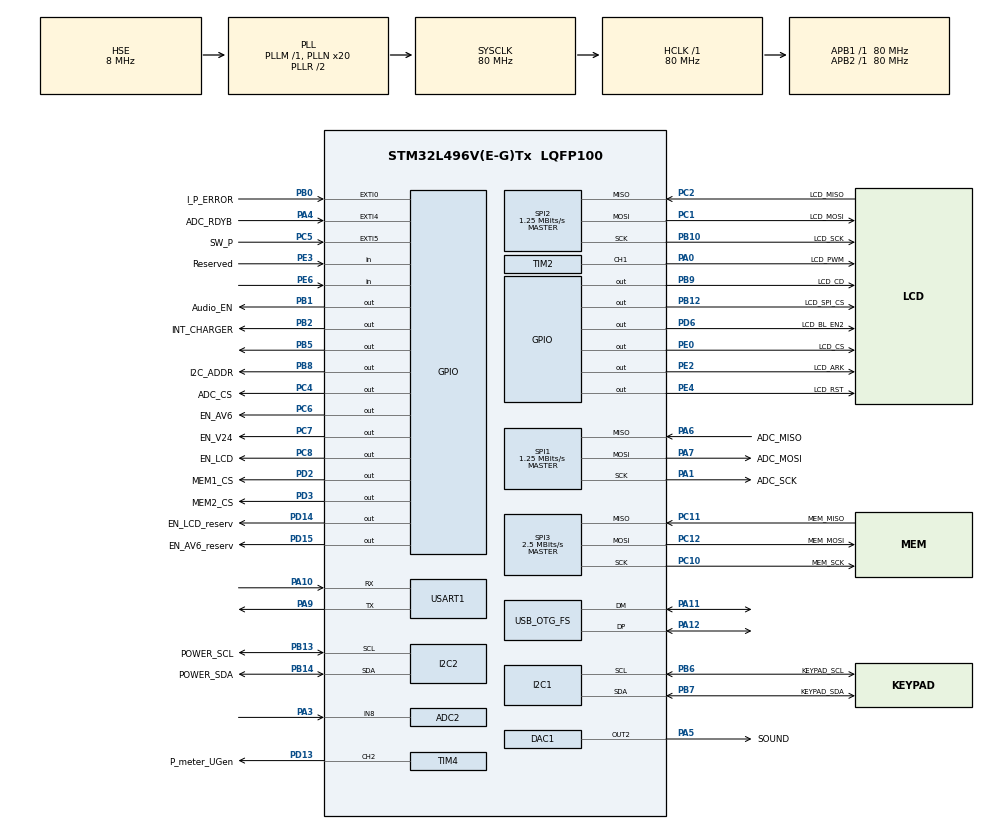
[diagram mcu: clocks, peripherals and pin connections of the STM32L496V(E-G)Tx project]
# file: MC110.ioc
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ADC1.Channel-0\#ChannelRegularConversion=ADC_CHANNEL_TEMPSENSOR
ADC1.ExternalTrigConv=ADC_SOFTWARE_START
ADC1.NbrOfConversionFlag=1
ADC1.OffsetNumber-0\#ChannelRegularConversion=ADC_OFFSET_NONE
ADC1.Rank-0\#ChannelRegularConversion=1
ADC1.SamplingTime-0\#ChannelRegularConversion=ADC_SAMPLETIME_47CYCLES_5
ADC1.master=1
ADC2.Channel-0\#ChannelRegularConversion=ADC_CHANNEL_8
ADC2.ClockPrescaler=ADC_CLOCK_ASYNC_DIV1
ADC2.ContinuousConvMode=ENABLE
ADC2.NbrOfConversionFlag=1
ADC2.OffsetNumber-0\#ChannelRegularConversion=ADC_OFFSET_NONE
ADC2.Rank-0\#ChannelRegularConversion=1
ADC2.SamplingTime-0\#ChannelRegularConversion=ADC_SAMPLETIME_47CYCLES_5
DAC1.DAC_Channel-DAC_OUT2=DAC_CHANNEL_2
DAC1.DAC_Trigger-DAC_OUT2=DAC_TRIGGER_T6_TRGO
DAC1.DAC_UserTrimming-DAC_OUT2=DAC_TRIMMING_FACTORY
DAC1.WaveGeneration-DAC_OUT2=DISABLE
Dma.ADC1.1.Direction=DMA_PERIPH_TO_MEMORY
Dma.ADC1.1.Instance=DMA1_Channel1
Dma.ADC1.1.MemDataAlignment=DMA_MDATAALIGN_HALFWORD
Dma.ADC1.1.MemInc=DMA_MINC_ENABLE
Dma.ADC1.1.Mode=DMA_CIRCULAR
Dma.ADC1.1.PeriphDataAlignment=DMA_PDATAALIGN_HALFWORD
Dma.ADC1.1.PeriphInc=DMA_PINC_DISABLE
Dma.ADC1.1.Priority=DMA_PRIORITY_MEDIUM
Dma.ADC2.0.Direction=DMA_PERIPH_TO_MEMORY
Dma.ADC2.0.Instance=DMA1_Channel2
Dma.ADC2.0.MemDataAlignment=DMA_MDATAALIGN_HALFWORD
Dma.ADC2.0.MemInc=DMA_MINC_ENABLE
Dma.ADC2.0.Mode=DMA_CIRCULAR
Dma.ADC2.0.PeriphDataAlignment=DMA_PDATAALIGN_HALFWORD
Dma.ADC2.0.PeriphInc=DMA_PINC_DISABLE
Dma.ADC2.0.Priority=DMA_PRIORITY_MEDIUM
Dma.DAC_CH2.2.Direction=DMA_MEMORY_TO_PERIPH
Dma.DAC_CH2.2.Instance=DMA1_Channel4
Dma.DAC_CH2.2.MemDataAlignment=DMA_MDATAALIGN_BYTE
Dma.DAC_CH2.2.MemInc=DMA_MINC_ENABLE
Dma.DAC_CH2.2.Mode=DMA_CIRCULAR
Dma.DAC_CH2.2.PeriphDataAlignment=DMA_PDATAALIGN_BYTE
Dma.DAC_CH2.2.PeriphInc=DMA_PINC_DISABLE
Dma.DAC_CH2.2.Priority=DMA_PRIORITY_MEDIUM
Dma.Request0=ADC2
Dma.Request1=ADC1
Dma.Request2=DAC_CH2
I2C1.Timing=0x10909CEC
I2C2.Timing=0x10909CEC
Mcu.Family=STM32L4
Mcu.Name=STM32L496V(E-G)Tx
Mcu.Package=LQFP100
NVIC.DMA1_Channel1_IRQn=true\:0\:0\:false\:false\:true\:false\:true
NVIC.DMA1_Channel2_IRQn=true\:0\:0\:false\:false\:true\:false\:true
NVIC.DMA1_Channel4_IRQn=true\:0\:0\:false\:false\:true\:false\:true
NVIC.EXTI4_IRQn=true\:0\:0\:false\:false\:true\:true\:true
NVIC.OTG_FS_IRQn=true\:0\:0\:false\:false\:true\:false\:true
NVIC.PriorityGroup=NVIC_PRIORITYGROUP_4
NVIC.TIM1_UP_TIM16_IRQn=true\:15\:0\:false\:false\:true\:false\:true
NVIC.TIM6_DAC_IRQn=true\:0\:0\:false\:false\:true\:true\:true
NVIC.TimeBase=TIM1_UP_TIM16_IRQn
NVIC.TimeBaseIP=TIM1
NVIC.USART1_IRQn=true\:0\:0\:false\:false\:true\:true\:true
PA0.GPIO_Label=LCD_PWM
PA0.Signal=S_TIM2_CH1
PA1.GPIO_Label=ADC_SCK
PA1.Mode=Full_Duplex_Master
PA1.Signal=SPI1_SCK
PA10.GPIO_PuPd=GPIO_NOPULL
PA10.Mode=Asynchronous
PA10.Signal=USART1_RX
PA11.Mode=Device_Only
PA11.Signal=USB_OTG_FS_DM
PA12.Mode=Device_Only
PA12.Signal=USB_OTG_FS_DP
PA13\ (JTMS/SWDIO).Mode=Serial_Wire
PA13\ (JTMS/SWDIO).Signal=SYS_JTMS-SWDIO
PA14\ (JTCK/SWCLK).Mode=Serial_Wire
PA14\ (JTCK/SWCLK).Signal=SYS_JTCK-SWCLK
PA3.Signal=ADCx_IN8
PA4.GPIO_Label=ADC_RDYB
PA4.GPIO_ModeDefaultEXTI=GPIO_MODE_IT_FALLING
PA4.Signal=GPXTI4
PA5.GPIO_Label=SOUND
PA5.Signal=COMP_DAC12_group
PA6.GPIO_Label=ADC_MISO
PA6.Mode=Full_Duplex_Master
PA6.Signal=SPI1_MISO
PA7.GPIO_Label=ADC_MOSI
PA7.Mode=Full_Duplex_Master
PA7.Signal=SPI1_MOSI
PA9.GPIO_PuPd=GPIO_NOPULL
PA9.Mode=Asynchronous
PA9.Signal=USART1_TX
PB0.GPIO_Label=I_P_ERROR
PB0.Signal=GPXTI0
PB1.GPIO_Label=Audio_EN
PB1.Signal=GPIO_Output
PB10.GPIO_Label=LCD_SCK
PB10.Mode=Full_Duplex_Master
PB10.Signal=SPI2_SCK
PB12.GPIO_Label=LCD_SPI_CS
PB12.Signal=GPIO_Output
PB13.GPIO_Label=POWER_SCL
PB13.GPIO_Pu=GPIO_PULLUP
PB13.Mode=I2C
PB13.Signal=I2C2_SCL
PB14.GPIO_Label=POWER_SDA
PB14.GPIO_Pu=GPIO_PULLUP
PB14.Mode=I2C
PB14.Signal=I2C2_SDA
PB2.GPIO_Label=INT_CHARGER
PB2.Signal=GPIO_Output
PB5.Signal=GPIO_Output
PB6.GPIO_Label=KEYPAD_SCL
PB6.GPIO_Pu=GPIO_PULLUP
PB6.Mode=I2C
PB6.Signal=I2C1_SCL
PB7.GPIO_Label=KEYPAD_SDA
PB7.GPIO_Pu=GPIO_PULLUP
PB7.Mode=I2C
PB7.Signal=I2C1_SDA
PB8.GPIO_Label=I2C_ADDR
PB8.Signal=GPIO_Output
PB9.GPIO_Label=LCD_CD
PB9.Signal=GPIO_Output
PC1.GPIO_Label=LCD_MOSI
PC1.Mode=Full_Duplex_Master
PC1.Signal=SPI2_MOSI
PC10.GPIO_Label=MEM_SCK
PC10.Mode=Full_Duplex_Master
PC10.Signal=SPI3_SCK
PC11.GPIO_Label=MEM_MISO
PC11.Mode=Full_Duplex_Master
PC11.Signal=SPI3_MISO
PC12.GPIO_Label=MEM_MOSI
PC12.Mode=Full_Duplex_Master
PC12.Signal=SPI3_MOSI
PC14-OSC32_IN\ (PC14).Mode=LSE-External-Oscillator
PC14-OSC32_IN\ (PC14).Signal=RCC_OSC32_IN
PC15-OSC32_OUT\ (PC15).Mode=LSE-External-Oscillator
PC15-OSC32_OUT\ (PC15).Signal=RCC_OSC32_OUT
PC2.GPIO_Label=LCD_MISO
PC2.Mode=Full_Duplex_Master
PC2.Signal=SPI2_MISO
PC4.GPIO_Label=ADC_CS
PC4.Signal=GPIO_Output
PC5.GPIO_Label=SW_P
PC5.Signal=GPXTI5
PC6.GPIO_Label=EN_AV6
PC6.Signal=GPIO_Output
PC7.GPIO_Label=EN_V24
PC7.Signal=GPIO_Output
PC8.GPIO_Label=EN_LCD
PC8.Signal=GPIO_Output
PD13.GPIO_Label=P_meter_UGen
PD13.Signal=S_TIM4_CH2
PD14.GPIO_Label=EN_LCD_reserv
PD14.Signal=GPIO_Output
PD15.GPIO_Label=EN_AV6_reserv
PD15.Signal=GPIO_Output
PD2.GPIO_Label=MEM1_CS
PD2.Signal=GPIO_Output
PD3.GPIO_Label=MEM2_CS
PD3.Signal=GPIO_Output
PD6.GPIO_Label=LCD_BL_EN2
PD6.Signal=GPIO_Output
PE0.GPIO_Label=LCD_CS
PE0.Signal=GPIO_Output
PE2.GPIO_Label=LCD_ARK
PE2.Signal=GPIO_Output
PE3.GPIO_Label=Reserved
PE3.Signal=GPIO_Input
PE4.GPIO_Label=LCD_RST
PE4.Signal=GPIO_Output
PE6.GPIO_PuPd=GPIO_PULLDOWN
PE6.Signal=GPIO_Input
PH0-OSC_IN\ (PH0).Mode=HSE-External-Oscillator
PH0-OSC_IN\ (PH0).Signal=RCC_OSC_IN
PH1-OSC_OUT\ (PH1).Mode=HSE-External-Oscillator
PH1-OSC_OUT\ (PH1).Signal=RCC_OSC_OUT
ProjectManager.HeapSize=0x200
ProjectManager.StackSize=0x400
ProjectManager.TargetToolchain=STM32CubeIDE
RCC.ADCCLockSelection=RCC_ADCCLKSOURCE_SYSCLK
RCC.ADCFreq_Value=80000000
RCC.AHBFreq_Value=80000000
RCC.APB1Freq_Value=80000000
RCC.APB1TimFreq_Value=80000000
RCC.APB2Freq_Value=80000000
RCC.APB2TimFreq_Value=80000000
RCC.CortexFreq_Value=80000000
RCC.EnableCSSLSE=true
RCC.HCLKFreq_Value=80000000
RCC.HSE_VALUE=8000000
RCC.HSI48_VALUE=48000000
RCC.HSI_VALUE=16000000
RCC.MSI_VALUE=4000000
RCC.PLLN=20
RCC.PLLSAI1N=12
RCC.PLLSourceVirtual=RCC_PLLSOURCE_HSE
RCC.RTCClockSelection=RCC_RTCCLKSOURCE_LSE
RCC.SYSCLKFreq_VALUE=80000000
RCC.SYSCLKSource=RCC_SYSCLKSOURCE_PLLCLK
RCC.USBFreq_Value=48000000
RCC.VCOOutputFreq_Value=160000000
RCC.VDD_VALUE=3
SH.ADCx_IN8.0=ADC2_IN8,IN8-Single-Ended
SH.COMP_DAC12_group.0=DAC1_OUT2,DAC_OUT2
SH.S_TIM2_CH1.0=TIM2_CH1,PWM Generation1 CH1
SH.S_TIM4_CH2.0=TIM4_CH2,PWM Generation2 CH2
SPI1.BaudRatePrescaler=SPI_BAUDRATEPRESCALER_64
SPI1.CalculateBaudRate=1.25 MBits/s
SPI1.DataSize=SPI_DATASIZE_8BIT
SPI1.Direction=SPI_DIRECTION_2LINES
SPI1.Mode=SPI_MODE_MASTER
SPI1.VirtualType=VM_MASTER
SPI2.BaudRatePrescaler=SPI_BAUDRATEPRESCALER_64
SPI2.CalculateBaudRate=1.25 MBits/s
SPI2.DataSize=SPI_DATASIZE_8BIT
SPI2.Direction=SPI_DIRECTION_2LINES
SPI2.Mode=SPI_MODE_MASTER
SPI2.VirtualType=VM_MASTER
SPI3.BaudRatePrescaler=SPI_BAUDRATEPRESCALER_32
SPI3.CalculateBaudRate=2.5 MBits/s
SPI3.DataSize=SPI_DATASIZE_8BIT
SPI3.Direction=SPI_DIRECTION_2LINES
SPI3.Mode=SPI_MODE_MASTER
SPI3.VirtualType=VM_MASTER
SYS.PVDLevel=PWR_PVDLEVEL_4
TIM2.Channel-PWM\ Generation1\ CH1=TIM_CHANNEL_1
TIM2.Period=50
TIM2.Prescaler=2
TIM2.Pulse-PWM\ Generation1\ CH1=50
TIM4.Channel-PWM\ Generation2\ CH2=TIM_CHANNEL_2
TIM4.Period=1000
TIM6.Period=1666
TIM6.Prescaler=2
TIM6.TIM_MasterOutputTrigger=TIM_TRGO_UPDATE
USART1.VirtualMode-Asynchronous=VM_ASYNC
USB_DEVICE.CLASS_NAME_FS=CDC
USB_DEVICE.VirtualMode=Cdc
USB_DEVICE.VirtualModeFS=Cdc_FS
USB_OTG_FS.VirtualMode=Device_Only
VP_ADC1_TempSens_Input.Mode=IN-TempSens
VP_FATFS_VS_Generic.Mode=User_defined
VP_RTC_VS_RTC_Activate.Mode=RTC_Enabled
VP_SYS_VS_tim1.Mode=TIM1
VP_SYS_V_PVD_IN.Mode=Mode_PVD_Int
VP_TIM6_VS_ClockSourceINT.Mode=Enable_Timer
VP_USB_DEVICE_VS_USB_DEVICE_CDC_FS.Mode=CDC_FS
board=custom

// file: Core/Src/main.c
/* USER CODE BEGIN Header */
/**
  ******************************************************************************
  * @file           : main.c
  * @brief          : Main program body
  ******************************************************************************
  * @attention
  *
  * <h2><center>&copy; Copyright (c) 2021 STMicroelectronics.
  * All rights reserved.</center></h2>
  *
  * This software component is licensed by ST under BSD 3-Clause license,
  * the "License"; You may not use this file except in compliance with the
  * License. You may obtain a copy of the License at:
  *                        opensource.org/licenses/BSD-3-Clause
  *
  ******************************************************************************
  */
/* USER CODE END Header */
#include "main.h"
#include "fatfs.h"
#include "usb_device.h"

/* USER CODE BEGIN Includes */
#include "Usart_Parser.h"
/* USER CODE END Includes */

ADC_HandleTypeDef hadc1;
ADC_HandleTypeDef hadc2;
DMA_HandleTypeDef hdma_adc1;
DMA_HandleTypeDef hdma_adc2;

DAC_HandleTypeDef hdac1;
DMA_HandleTypeDef hdma_dac_ch2;

I2C_HandleTypeDef hi2c1;
I2C_HandleTypeDef hi2c2;

RTC_HandleTypeDef hrtc;

SPI_HandleTypeDef hspi1;
SPI_HandleTypeDef hspi2;
SPI_HandleTypeDef hspi3;

TIM_HandleTypeDef htim2;
TIM_HandleTypeDef htim4;
TIM_HandleTypeDef htim6;

UART_HandleTypeDef huart1;

void SystemClock_Config(void);
static void MX_GPIO_Init(void);
static void MX_I2C1_Init(void);
static void MX_I2C2_Init(void);
static void MX_RTC_Init(void);
static void MX_SPI1_Init(void);
static void MX_SPI2_Init(void);
static void MX_SPI3_Init(void);
static void MX_TIM2_Init(void);
static void MX_TIM4_Init(void);
static void MX_USART1_UART_Init(void);
static void MX_DMA_Init(void);
static void MX_ADC2_Init(void);
static void MX_ADC1_Init(void);
static void MX_TIM6_Init(void);
static void MX_DAC1_Init(void);

/* USER CODE BEGIN 0 */
void led_on(void)
{
	if(ERROR_REG!=0)LED(1,0,0);
	Task_STOP(9);
	Task_RUN(10, 250);
}
void led_off(void)
{
	LED(0,0,0);
	Task_STOP(10);
	Task_RUN(9, 250);
}
void test_task(void)
{
	uint8_t CID = MAX77960_Read_Reg(MAX77960_CID);
	sleep(300);
}

/* USER CODE END 0 */

int main(void)
{

  /* MCU Configuration--------------------------------------------------------*/

  /* Reset of all peripherals, Initializes the Flash interface and the Systick. */
  HAL_Init();

  /* Configure the system clock */
  SystemClock_Config();

  /* Initialize all configured peripherals */
  MX_GPIO_Init();
  MX_I2C1_Init();
  MX_I2C2_Init();
  MX_RTC_Init();
  MX_SPI1_Init();
  MX_SPI2_Init();
  MX_SPI3_Init();
  MX_TIM2_Init();
  MX_TIM4_Init();
  MX_USART1_UART_Init();
  MX_FATFS_Init();
  MX_DMA_Init();
  MX_USB_DEVICE_Init();
  MX_ADC2_Init();
  MX_ADC1_Init();
  MX_TIM6_Init();
  MX_DAC1_Init();
  /* USER CODE BEGIN 2 */

  // Таски
  new_task[1]=Parser_process;		// Парсинг команд через виртуальный компорт
  new_task[2]=ADC_process;			// АЦП
  new_task[3]=Display_process;		// Дисплей
  new_task[4]=Buttons_process;		// Кнопки
  new_task[5]=RTC_process;			// Часы реального времени
  new_task[6]=Auto_OFF_process;		// Автовыключение
  new_task[7]=Temperature_process;	// Температура МКУ
  new_task[8]=Battery_process;		// Напряжение на батарее
new_task[11]=test_task;

  Task_STOP(10);
  new_task[9]=led_on;
  new_task[10]=led_off;

  HAL_GPIO_WritePin(GPIOC, GPIO_PIN_8, GPIO_PIN_SET); // Питание на самоблокировку
  HAL_GPIO_WritePin(GPIOD, GPIO_PIN_14, GPIO_PIN_SET); // Питание на самоблокировку
  TURN_ON_ADC_POWER();

  Buttons_init();
  Display_init();
  ADC_init();
  W25_Init();
  BLueTooth_Configuration(BLE_config);
  Logging_init();
  Load_Settings();

  Play_Sound((char*)"INTRO.WAV");
  ELSPIRE_OS_KERNEL();
  /* USER CODE END 2 */

  /* Infinite loop */
  while (1)
  {

  }
}

void SystemClock_Config(void)
{
  RCC_OscInitTypeDef RCC_OscInitStruct = {0};
  RCC_ClkInitTypeDef RCC_ClkInitStruct = {0};

  /** Configure the main internal regulator output voltage
  */
  if (HAL_PWREx_ControlVoltageScaling(PWR_REGULATOR_VOLTAGE_SCALE1) != HAL_OK)
  {
    Error_Handler();
  }
  /** Configure LSE Drive Capability
  */
  HAL_PWR_EnableBkUpAccess();
  __HAL_RCC_LSEDRIVE_CONFIG(RCC_LSEDRIVE_LOW);
  /** Initializes the RCC Oscillators according to the specified parameters
  * in the RCC_OscInitTypeDef structure.
  */
  RCC_OscInitStruct.OscillatorType = RCC_OSCILLATORTYPE_HSE|RCC_OSCILLATORTYPE_LSE;
  RCC_OscInitStruct.HSEState = RCC_HSE_ON;
  RCC_OscInitStruct.LSEState = RCC_LSE_ON;
  RCC_OscInitStruct.PLL.PLLState = RCC_PLL_ON;
  RCC_OscInitStruct.PLL.PLLSource = RCC_PLLSOURCE_HSE;
  RCC_OscInitStruct.PLL.PLLM = 1;
  RCC_OscInitStruct.PLL.PLLN = 20;
  RCC_OscInitStruct.PLL.PLLP = RCC_PLLP_DIV2;
  RCC_OscInitStruct.PLL.PLLQ = RCC_PLLQ_DIV2;
  RCC_OscInitStruct.PLL.PLLR = RCC_PLLR_DIV2;
  if (HAL_RCC_OscConfig(&RCC_OscInitStruct) != HAL_OK)
  {
    Error_Handler();
  }
  /** Initializes the CPU, AHB and APB buses clocks
  */
  RCC_ClkInitStruct.ClockType = RCC_CLOCKTYPE_HCLK|RCC_CLOCKTYPE_SYSCLK
                              |RCC_CLOCKTYPE_PCLK1|RCC_CLOCKTYPE_PCLK2;
  RCC_ClkInitStruct.SYSCLKSource = RCC_SYSCLKSOURCE_PLLCLK;
  RCC_ClkInitStruct.AHBCLKDivider = RCC_SYSCLK_DIV1;
  RCC_ClkInitStruct.APB1CLKDivider = RCC_HCLK_DIV1;
  RCC_ClkInitStruct.APB2CLKDivider = RCC_HCLK_DIV1;

  if (HAL_RCC_ClockConfig(&RCC_ClkInitStruct, FLASH_LATENCY_4) != HAL_OK)
  {
    Error_Handler();
  }
  /** Enables the Clock Security System
  */
  HAL_RCCEx_EnableLSECSS();
}

static void MX_ADC1_Init(void)
{

  ADC_MultiModeTypeDef multimode = {0};
  ADC_ChannelConfTypeDef sConfig = {0};

  /** Common config
  */
  hadc1.Instance = ADC1;
  hadc1.Init.ClockPrescaler = ADC_CLOCK_ASYNC_DIV1;
  hadc1.Init.Resolution = ADC_RESOLUTION_12B;
  hadc1.Init.DataAlign = ADC_DATAALIGN_RIGHT;
  hadc1.Init.ScanConvMode = ADC_SCAN_DISABLE;
  hadc1.Init.EOCSelection = ADC_EOC_SINGLE_CONV;
  hadc1.Init.LowPowerAutoWait = DISABLE;
  hadc1.Init.ContinuousConvMode = DISABLE;
  hadc1.Init.NbrOfConversion = 1;
  hadc1.Init.DiscontinuousConvMode = DISABLE;
  hadc1.Init.ExternalTrigConv = ADC_SOFTWARE_START;
  hadc1.Init.ExternalTrigConvEdge = ADC_EXTERNALTRIGCONVEDGE_NONE;
  hadc1.Init.DMAContinuousRequests = DISABLE;
  hadc1.Init.Overrun = ADC_OVR_DATA_PRESERVED;
  hadc1.Init.OversamplingMode = DISABLE;
  if (HAL_ADC_Init(&hadc1) != HAL_OK)
  {
    Error_Handler();
  }
  /** Configure the ADC multi-mode
  */
  multimode.Mode = ADC_MODE_INDEPENDENT;
  if (HAL_ADCEx_MultiModeConfigChannel(&hadc1, &multimode) != HAL_OK)
  {
    Error_Handler();
  }
  /** Configure Regular Channel
  */
  sConfig.Channel = ADC_CHANNEL_TEMPSENSOR;
  sConfig.Rank = ADC_REGULAR_RANK_1;
  sConfig.SamplingTime = ADC_SAMPLETIME_47CYCLES_5;
  sConfig.SingleDiff = ADC_SINGLE_ENDED;
  sConfig.OffsetNumber = ADC_OFFSET_NONE;
  sConfig.Offset = 0;
  if (HAL_ADC_ConfigChannel(&hadc1, &sConfig) != HAL_OK)
  {
    Error_Handler();
  }
  /* USER CODE BEGIN ADC1_Init 2 */
  HAL_ADC_Start(&hadc1);
  /* USER CODE END ADC1_Init 2 */

}

static void MX_ADC2_Init(void)
{

  ADC_ChannelConfTypeDef sConfig = {0};

  /** Common config
  */
  hadc2.Instance = ADC2;
  hadc2.Init.ClockPrescaler = ADC_CLOCK_ASYNC_DIV1;
  hadc2.Init.Resolution = ADC_RESOLUTION_12B;
  hadc2.Init.DataAlign = ADC_DATAALIGN_RIGHT;
  hadc2.Init.ScanConvMode = ADC_SCAN_DISABLE;
  hadc2.Init.EOCSelection = ADC_EOC_SINGLE_CONV;
  hadc2.Init.LowPowerAutoWait = DISABLE;
  hadc2.Init.ContinuousConvMode = ENABLE;
  hadc2.Init.NbrOfConversion = 1;
  hadc2.Init.DiscontinuousConvMode = DISABLE;
  hadc2.Init.ExternalTrigConv = ADC_SOFTWARE_START;
  hadc2.Init.ExternalTrigConvEdge = ADC_EXTERNALTRIGCONVEDGE_NONE;
  hadc2.Init.DMAContinuousRequests = DISABLE;
  hadc2.Init.Overrun = ADC_OVR_DATA_PRESERVED;
  hadc2.Init.OversamplingMode = DISABLE;
  if (HAL_ADC_Init(&hadc2) != HAL_OK)
  {
    Error_Handler();
  }
  /** Configure Regular Channel
  */
  sConfig.Channel = ADC_CHANNEL_8;
  sConfig.Rank = ADC_REGULAR_RANK_1;
  sConfig.SamplingTime = ADC_SAMPLETIME_47CYCLES_5;
  sConfig.SingleDiff = ADC_SINGLE_ENDED;
  sConfig.OffsetNumber = ADC_OFFSET_NONE;
  sConfig.Offset = 0;
  if (HAL_ADC_ConfigChannel(&hadc2, &sConfig) != HAL_OK)
  {
    Error_Handler();
  }

}

static void MX_DAC1_Init(void)
{

  DAC_ChannelConfTypeDef sConfig = {0};

  /** DAC Initialization
  */
  hdac1.Instance = DAC1;
  if (HAL_DAC_Init(&hdac1) != HAL_OK)
  {
    Error_Handler();
  }
  /** DAC channel OUT2 config
  */
  sConfig.DAC_SampleAndHold = DAC_SAMPLEANDHOLD_DISABLE;
  sConfig.DAC_Trigger = DAC_TRIGGER_T6_TRGO;
  sConfig.DAC_OutputBuffer = DAC_OUTPUTBUFFER_ENABLE;
  sConfig.DAC_ConnectOnChipPeripheral = DAC_CHIPCONNECT_DISABLE;
  sConfig.DAC_UserTrimming = DAC_TRIMMING_FACTORY;
  if (HAL_DAC_ConfigChannel(&hdac1, &sConfig, DAC_CHANNEL_2) != HAL_OK)
  {
    Error_Handler();
  }
  /* USER CODE BEGIN DAC1_Init 2 */
//  HAL_DAC_Start(&hdac1, DAC_CHANNEL_2);
//  HAL_DAC_Start_DMA (&hdac1, DAC_CHANNEL_2, (uint32_t*)sound_buf, 512, DAC_ALIGN_12B_R);
  /* USER CODE END DAC1_Init 2 */

}

static void MX_I2C1_Init(void)
{

  hi2c1.Instance = I2C1;
  hi2c1.Init.Timing = 0x10909CEC;
  hi2c1.Init.OwnAddress1 = 0;
  hi2c1.Init.AddressingMode = I2C_ADDRESSINGMODE_7BIT;
  hi2c1.Init.DualAddressMode = I2C_DUALADDRESS_DISABLE;
  hi2c1.Init.OwnAddress2 = 0;
  hi2c1.Init.OwnAddress2Masks = I2C_OA2_NOMASK;
  hi2c1.Init.GeneralCallMode = I2C_GENERALCALL_DISABLE;
  hi2c1.Init.NoStretchMode = I2C_NOSTRETCH_DISABLE;
  if (HAL_I2C_Init(&hi2c1) != HAL_OK)
  {
    Error_Handler();
  }
  /** Configure Analogue filter
  */
  if (HAL_I2CEx_ConfigAnalogFilter(&hi2c1, I2C_ANALOGFILTER_ENABLE) != HAL_OK)
  {
    Error_Handler();
  }
  /** Configure Digital filter
  */
  if (HAL_I2CEx_ConfigDigitalFilter(&hi2c1, 0) != HAL_OK)
  {
    Error_Handler();
  }

}

static void MX_I2C2_Init(void)
{

  hi2c2.Instance = I2C2;
  hi2c2.Init.Timing = 0x10909CEC;
  hi2c2.Init.OwnAddress1 = 0;
  hi2c2.Init.AddressingMode = I2C_ADDRESSINGMODE_7BIT;
  hi2c2.Init.DualAddressMode = I2C_DUALADDRESS_DISABLE;
  hi2c2.Init.OwnAddress2 = 0;
  hi2c2.Init.OwnAddress2Masks = I2C_OA2_NOMASK;
  hi2c2.Init.GeneralCallMode = I2C_GENERALCALL_DISABLE;
  hi2c2.Init.NoStretchMode = I2C_NOSTRETCH_DISABLE;
  if (HAL_I2C_Init(&hi2c2) != HAL_OK)
  {
    Error_Handler();
  }
  /** Configure Analogue filter
  */
  if (HAL_I2CEx_ConfigAnalogFilter(&hi2c2, I2C_ANALOGFILTER_ENABLE) != HAL_OK)
  {
    Error_Handler();
  }
  /** Configure Digital filter
  */
  if (HAL_I2CEx_ConfigDigitalFilter(&hi2c2, 0) != HAL_OK)
  {
    Error_Handler();
  }

}

static void MX_RTC_Init(void)
{

  /** Initialize RTC Only
  */
  hrtc.Instance = RTC;
  hrtc.Init.HourFormat = RTC_HOURFORMAT_24;
  hrtc.Init.AsynchPrediv = 127;
  hrtc.Init.SynchPrediv = 255;
  hrtc.Init.OutPut = RTC_OUTPUT_DISABLE;
  hrtc.Init.OutPutRemap = RTC_OUTPUT_REMAP_NONE;
  hrtc.Init.OutPutPolarity = RTC_OUTPUT_POLARITY_HIGH;
  hrtc.Init.OutPutType = RTC_OUTPUT_TYPE_OPENDRAIN;
  if (HAL_RTC_Init(&hrtc) != HAL_OK)
  {
    Error_Handler();
  }
  /* USER CODE BEGIN RTC_Init 2 */

  HAL_RTCEx_EnableBypassShadow(&hrtc);
  /* USER CODE END RTC_Init 2 */

}

static void MX_SPI1_Init(void)
{

  /* SPI1 parameter configuration*/
  hspi1.Instance = SPI1;
  hspi1.Init.Mode = SPI_MODE_MASTER;
  hspi1.Init.Direction = SPI_DIRECTION_2LINES;
  hspi1.Init.DataSize = SPI_DATASIZE_8BIT;
  hspi1.Init.CLKPolarity = SPI_POLARITY_LOW;
  hspi1.Init.CLKPhase = SPI_PHASE_1EDGE;
  hspi1.Init.NSS = SPI_NSS_SOFT;
  hspi1.Init.BaudRatePrescaler = SPI_BAUDRATEPRESCALER_64;
  hspi1.Init.FirstBit = SPI_FIRSTBIT_MSB;
  hspi1.Init.TIMode = SPI_TIMODE_DISABLE;
  hspi1.Init.CRCCalculation = SPI_CRCCALCULATION_DISABLE;
  hspi1.Init.CRCPolynomial = 7;
  hspi1.Init.CRCLength = SPI_CRC_LENGTH_DATASIZE;
  hspi1.Init.NSSPMode = SPI_NSS_PULSE_ENABLE;
  if (HAL_SPI_Init(&hspi1) != HAL_OK)
  {
    Error_Handler();
  }

}

static void MX_SPI2_Init(void)
{

  /* SPI2 parameter configuration*/
  hspi2.Instance = SPI2;
  hspi2.Init.Mode = SPI_MODE_MASTER;
  hspi2.Init.Direction = SPI_DIRECTION_2LINES;
  hspi2.Init.DataSize = SPI_DATASIZE_8BIT;
  hspi2.Init.CLKPolarity = SPI_POLARITY_LOW;
  hspi2.Init.CLKPhase = SPI_PHASE_1EDGE;
  hspi2.Init.NSS = SPI_NSS_SOFT;
  hspi2.Init.BaudRatePrescaler = SPI_BAUDRATEPRESCALER_64;
  hspi2.Init.FirstBit = SPI_FIRSTBIT_MSB;
  hspi2.Init.TIMode = SPI_TIMODE_DISABLE;
  hspi2.Init.CRCCalculation = SPI_CRCCALCULATION_DISABLE;
  hspi2.Init.CRCPolynomial = 7;
  hspi2.Init.CRCLength = SPI_CRC_LENGTH_DATASIZE;
  hspi2.Init.NSSPMode = SPI_NSS_PULSE_ENABLE;
  if (HAL_SPI_Init(&hspi2) != HAL_OK)
  {
    Error_Handler();
  }

}

static void MX_SPI3_Init(void)
{

  /* SPI3 parameter configuration*/
  hspi3.Instance = SPI3;
  hspi3.Init.Mode = SPI_MODE_MASTER;
  hspi3.Init.Direction = SPI_DIRECTION_2LINES;
  hspi3.Init.DataSize = SPI_DATASIZE_8BIT;
  hspi3.Init.CLKPolarity = SPI_POLARITY_LOW;
  hspi3.Init.CLKPhase = SPI_PHASE_1EDGE;
  hspi3.Init.NSS = SPI_NSS_SOFT;
  hspi3.Init.BaudRatePrescaler = SPI_BAUDRATEPRESCALER_32;
  hspi3.Init.FirstBit = SPI_FIRSTBIT_MSB;
  hspi3.Init.TIMode = SPI_TIMODE_DISABLE;
  hspi3.Init.CRCCalculation = SPI_CRCCALCULATION_DISABLE;
  hspi3.Init.CRCPolynomial = 7;
  hspi3.Init.CRCLength = SPI_CRC_LENGTH_DATASIZE;
  hspi3.Init.NSSPMode = SPI_NSS_PULSE_ENABLE;
  if (HAL_SPI_Init(&hspi3) != HAL_OK)
  {
    Error_Handler();
  }

}

static void MX_TIM2_Init(void)
{

  TIM_MasterConfigTypeDef sMasterConfig = {0};
  TIM_OC_InitTypeDef sConfigOC = {0};

  htim2.Instance = TIM2;
  htim2.Init.Prescaler = 2;
  htim2.Init.CounterMode = TIM_COUNTERMODE_UP;
  htim2.Init.Period = 50;
  htim2.Init.ClockDivision = TIM_CLOCKDIVISION_DIV1;
  htim2.Init.AutoReloadPreload = TIM_AUTORELOAD_PRELOAD_DISABLE;
  if (HAL_TIM_PWM_Init(&htim2) != HAL_OK)
  {
    Error_Handler();
  }
  sMasterConfig.MasterOutputTrigger = TIM_TRGO_RESET;
  sMasterConfig.MasterSlaveMode = TIM_MASTERSLAVEMODE_DISABLE;
  if (HAL_TIMEx_MasterConfigSynchronization(&htim2, &sMasterConfig) != HAL_OK)
  {
    Error_Handler();
  }
  sConfigOC.OCMode = TIM_OCMODE_PWM1;
  sConfigOC.Pulse = 50;
  sConfigOC.OCPolarity = TIM_OCPOLARITY_HIGH;
  sConfigOC.OCFastMode = TIM_OCFAST_DISABLE;
  if (HAL_TIM_PWM_ConfigChannel(&htim2, &sConfigOC, TIM_CHANNEL_1) != HAL_OK)
  {
    Error_Handler();
  }
  /* USER CODE BEGIN TIM2_Init 2 */
  HAL_TIM_PWM_Start(&htim2, TIM_CHANNEL_1);

  /* USER CODE END TIM2_Init 2 */
  HAL_TIM_MspPostInit(&htim2);

}

static void MX_TIM4_Init(void)
{

  TIM_MasterConfigTypeDef sMasterConfig = {0};
  TIM_OC_InitTypeDef sConfigOC = {0};

  htim4.Instance = TIM4;
  htim4.Init.Prescaler = 0;
  htim4.Init.CounterMode = TIM_COUNTERMODE_UP;
  htim4.Init.Period = 1000;
  htim4.Init.ClockDivision = TIM_CLOCKDIVISION_DIV1;
  htim4.Init.AutoReloadPreload = TIM_AUTORELOAD_PRELOAD_DISABLE;
  if (HAL_TIM_PWM_Init(&htim4) != HAL_OK)
  {
    Error_Handler();
  }
  sMasterConfig.MasterOutputTrigger = TIM_TRGO_RESET;
  sMasterConfig.MasterSlaveMode = TIM_MASTERSLAVEMODE_DISABLE;
  if (HAL_TIMEx_MasterConfigSynchronization(&htim4, &sMasterConfig) != HAL_OK)
  {
    Error_Handler();
  }
  sConfigOC.OCMode = TIM_OCMODE_PWM1;
  sConfigOC.Pulse = 0;
  sConfigOC.OCPolarity = TIM_OCPOLARITY_HIGH;
  sConfigOC.OCFastMode = TIM_OCFAST_DISABLE;
  if (HAL_TIM_PWM_ConfigChannel(&htim4, &sConfigOC, TIM_CHANNEL_2) != HAL_OK)
  {
    Error_Handler();
  }
  HAL_TIM_MspPostInit(&htim4);

}

static void MX_TIM6_Init(void)
{

  TIM_MasterConfigTypeDef sMasterConfig = {0};

  htim6.Instance = TIM6;
  htim6.Init.Prescaler = 2;
  htim6.Init.CounterMode = TIM_COUNTERMODE_UP;
  htim6.Init.Period = 1666;
  htim6.Init.AutoReloadPreload = TIM_AUTORELOAD_PRELOAD_DISABLE;
  if (HAL_TIM_Base_Init(&htim6) != HAL_OK)
  {
    Error_Handler();
  }
  sMasterConfig.MasterOutputTrigger = TIM_TRGO_UPDATE;
  sMasterConfig.MasterSlaveMode = TIM_MASTERSLAVEMODE_DISABLE;
  if (HAL_TIMEx_MasterConfigSynchronization(&htim6, &sMasterConfig) != HAL_OK)
  {
    Error_Handler();
  }
  /* USER CODE BEGIN TIM6_Init 2 */

//  HAL_DAC_Start(&hdac1, DAC_CHANNEL_2);
//    HAL_TIM_Base_Start_IT(&htim6);
 //   HAL_TIM_Base_Start(&htim6);
  /* USER CODE END TIM6_Init 2 */

}

static void MX_USART1_UART_Init(void)
{

  huart1.Instance = USART1;
  huart1.Init.BaudRate = 115200;
  huart1.Init.WordLength = UART_WORDLENGTH_8B;
  huart1.Init.StopBits = UART_STOPBITS_1;
  huart1.Init.Parity = UART_PARITY_NONE;
  huart1.Init.Mode = UART_MODE_TX_RX;
  huart1.Init.HwFlowCtl = UART_HWCONTROL_NONE;
  huart1.Init.OverSampling = UART_OVERSAMPLING_16;
  huart1.Init.OneBitSampling = UART_ONE_BIT_SAMPLE_DISABLE;
  huart1.AdvancedInit.AdvFeatureInit = UART_ADVFEATURE_NO_INIT;
  if (HAL_UART_Init(&huart1) != HAL_OK)
  {
    Error_Handler();
  }
  /* USER CODE BEGIN USART1_Init 2 */
  __HAL_UART_ENABLE_IT(&huart1, UART_IT_RXNE);
  /* USER CODE END USART1_Init 2 */

}

static void MX_DMA_Init(void)
{

  /* DMA controller clock enable */
  __HAL_RCC_DMA1_CLK_ENABLE();

  /* DMA interrupt init */
  /* DMA1_Channel1_IRQn interrupt configuration */
  HAL_NVIC_SetPriority(DMA1_Channel1_IRQn, 0, 0);
  HAL_NVIC_EnableIRQ(DMA1_Channel1_IRQn);
  /* DMA1_Channel2_IRQn interrupt configuration */
  HAL_NVIC_SetPriority(DMA1_Channel2_IRQn, 0, 0);
  HAL_NVIC_EnableIRQ(DMA1_Channel2_IRQn);
  /* DMA1_Channel4_IRQn interrupt configuration */
  HAL_NVIC_SetPriority(DMA1_Channel4_IRQn, 0, 0);
  HAL_NVIC_EnableIRQ(DMA1_Channel4_IRQn);

}

static void MX_GPIO_Init(void)
{
  GPIO_InitTypeDef GPIO_InitStruct = {0};

  /* GPIO Ports Clock Enable */
  __HAL_RCC_GPIOE_CLK_ENABLE();
  __HAL_RCC_GPIOC_CLK_ENABLE();
  __HAL_RCC_GPIOH_CLK_ENABLE();
  __HAL_RCC_GPIOA_CLK_ENABLE();
  __HAL_RCC_GPIOB_CLK_ENABLE();
  __HAL_RCC_GPIOD_CLK_ENABLE();

  /*Configure GPIO pin Output Level */
  HAL_GPIO_WritePin(GPIOE, LCD_ARK_Pin|LCD_RST_Pin|LCD_CS_Pin, GPIO_PIN_RESET);

  /*Configure GPIO pin Output Level */
  HAL_GPIO_WritePin(GPIOC, ADC_CS_Pin|EN_AV6_Pin|EN_V24_Pin|EN_LCD_Pin, GPIO_PIN_RESET);

  /*Configure GPIO pin Output Level */
  HAL_GPIO_WritePin(GPIOB, Audio_EN_Pin|INT_CHARGER_Pin|LCD_SPI_CS_Pin|GPIO_PIN_5
                          |I2C_ADDR_Pin|LCD_CD_Pin, GPIO_PIN_RESET);

  /*Configure GPIO pin Output Level */
  HAL_GPIO_WritePin(GPIOD, EN_LCD_reserv_Pin|EN_AV6_reserv_Pin|MEM1_CS_Pin|MEM2_CS_Pin
                          |LCD_BL_EN2_Pin, GPIO_PIN_RESET);

  /*Configure GPIO pins : LCD_ARK_Pin LCD_RST_Pin LCD_CS_Pin */
  GPIO_InitStruct.Pin = LCD_ARK_Pin|LCD_RST_Pin|LCD_CS_Pin;
  GPIO_InitStruct.Mode = GPIO_MODE_OUTPUT_PP;
  GPIO_InitStruct.Pull = GPIO_NOPULL;
  GPIO_InitStruct.Speed = GPIO_SPEED_FREQ_LOW;
  HAL_GPIO_Init(GPIOE, &GPIO_InitStruct);

  /*Configure GPIO pin : Reserved_Pin */
  GPIO_InitStruct.Pin = Reserved_Pin;
  GPIO_InitStruct.Mode = GPIO_MODE_INPUT;
  GPIO_InitStruct.Pull = GPIO_NOPULL;
  HAL_GPIO_Init(Reserved_GPIO_Port, &GPIO_InitStruct);

  /*Configure GPIO pin : PE6 */
  GPIO_InitStruct.Pin = GPIO_PIN_6;
  GPIO_InitStruct.Mode = GPIO_MODE_INPUT;
  GPIO_InitStruct.Pull = GPIO_PULLDOWN;
  HAL_GPIO_Init(GPIOE, &GPIO_InitStruct);

  /*Configure GPIO pin : ADC_RDYB_Pin */
  GPIO_InitStruct.Pin = ADC_RDYB_Pin;
  GPIO_InitStruct.Mode = GPIO_MODE_IT_FALLING;
  GPIO_InitStruct.Pull = GPIO_NOPULL;
  HAL_GPIO_Init(ADC_RDYB_GPIO_Port, &GPIO_InitStruct);

  /*Configure GPIO pins : ADC_CS_Pin EN_AV6_Pin EN_V24_Pin EN_LCD_Pin */
  GPIO_InitStruct.Pin = ADC_CS_Pin|EN_AV6_Pin|EN_V24_Pin|EN_LCD_Pin;
  GPIO_InitStruct.Mode = GPIO_MODE_OUTPUT_PP;
  GPIO_InitStruct.Pull = GPIO_NOPULL;
  GPIO_InitStruct.Speed = GPIO_SPEED_FREQ_LOW;
  HAL_GPIO_Init(GPIOC, &GPIO_InitStruct);

  /*Configure GPIO pin : SW_P_Pin */
  GPIO_InitStruct.Pin = SW_P_Pin;
  GPIO_InitStruct.Mode = GPIO_MODE_IT_RISING;
  GPIO_InitStruct.Pull = GPIO_NOPULL;
  HAL_GPIO_Init(SW_P_GPIO_Port, &GPIO_InitStruct);

  /*Configure GPIO pin : I_P_ERROR_Pin */
  GPIO_InitStruct.Pin = I_P_ERROR_Pin;
  GPIO_InitStruct.Mode = GPIO_MODE_IT_RISING;
  GPIO_InitStruct.Pull = GPIO_NOPULL;
  HAL_GPIO_Init(I_P_ERROR_GPIO_Port, &GPIO_InitStruct);

  /*Configure GPIO pins : Audio_EN_Pin INT_CHARGER_Pin LCD_SPI_CS_Pin PB5
                           I2C_ADDR_Pin LCD_CD_Pin */
  GPIO_InitStruct.Pin = Audio_EN_Pin|INT_CHARGER_Pin|LCD_SPI_CS_Pin|GPIO_PIN_5
                          |I2C_ADDR_Pin|LCD_CD_Pin;
  GPIO_InitStruct.Mode = GPIO_MODE_OUTPUT_PP;
  GPIO_InitStruct.Pull = GPIO_NOPULL;
  GPIO_InitStruct.Speed = GPIO_SPEED_FREQ_LOW;
  HAL_GPIO_Init(GPIOB, &GPIO_InitStruct);

  /*Configure GPIO pins : EN_LCD_reserv_Pin EN_AV6_reserv_Pin MEM1_CS_Pin MEM2_CS_Pin
                           LCD_BL_EN2_Pin */
  GPIO_InitStruct.Pin = EN_LCD_reserv_Pin|EN_AV6_reserv_Pin|MEM1_CS_Pin|MEM2_CS_Pin
                          |LCD_BL_EN2_Pin;
  GPIO_InitStruct.Mode = GPIO_MODE_OUTPUT_PP;
  GPIO_InitStruct.Pull = GPIO_NOPULL;
  GPIO_InitStruct.Speed = GPIO_SPEED_FREQ_LOW;
  HAL_GPIO_Init(GPIOD, &GPIO_InitStruct);

  /* EXTI interrupt init*/
  HAL_NVIC_SetPriority(EXTI4_IRQn, 0, 0);
  HAL_NVIC_EnableIRQ(EXTI4_IRQn);

}

void HAL_TIM_PeriodElapsedCallback(TIM_HandleTypeDef *htim)
{
  /* USER CODE BEGIN Callback 0 */
	ELSPIRE_OS_TIMER();

	Buttons_timer();
	Blink_Edit_Parameter_timer();
	menu_timer();
	Viewer_timer();
	Light_OFF_process();
	if(rx_cmplt>0)rx_cmplt--;
	spi_timeout();

  /* USER CODE END Callback 0 */
  if (htim->Instance == TIM1) {
    HAL_IncTick();
  }
}

void Error_Handler(void)
{
  /* USER CODE BEGIN Error_Handler_Debug */
  /* User can add his own implementation to report the HAL error return state */
  __disable_irq();
  while (1)
  {
	  // Если попали сюда, то делаем программный сброс контроллера
	  SCB->AIRCR = 0x05FA0004;
  }
  /* USER CODE END Error_Handler_Debug */
}

/************************ (C) COPYRIGHT STMicroelectronics *****END OF FILE****/
